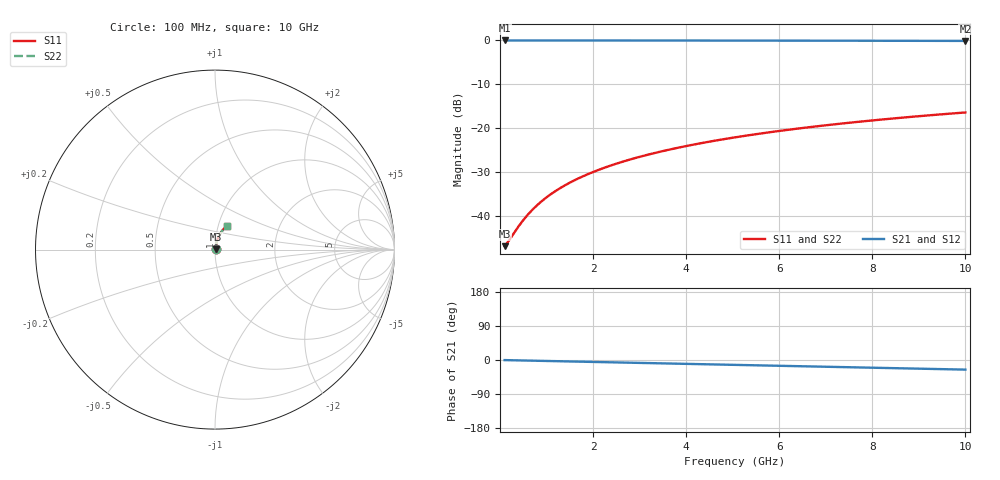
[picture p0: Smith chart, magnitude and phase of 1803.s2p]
# Hz S RI R 50.00
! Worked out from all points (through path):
!   100 points, 100 MHz to 10 GHz, reference 50 ohm
!   highest |S21| = -0.04 dB at 100 MHz (marker M1); lowest = -0.1 dB at 10 GHz (marker M2)
!   group delay of S21, straight-line fit = 7.05 ps
!   lowest |S11| = -46.9 dB at 100 MHz (marker M3), VSWR 1.01, Z = 50.4 + j0.156 ohm
!   |S11| at or under -10 dB: start of sweep to end of sweep
!   |S22| runs from -46.9 to -16.4 dB; largest |S21 - S12| = 0
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1e8  0.00425 0.00155  0.9957 -0.00443  0.9957 -0.00443  0.00425 0.00155
2e8  0.00429 0.0031  0.9957 -0.00886  0.9957 -0.00886  0.00429 0.0031
4e8  0.00441 0.00619  0.9955 -0.0177  0.9955 -0.0177  0.00441 0.00619
5e8  0.00449 0.00773  0.9954 -0.0221  0.9954 -0.0221  0.00449 0.00773
6e8  0.00458 0.00928  0.9953 -0.0266  0.9953 -0.0266  0.00458 0.00928
7e8  0.00468 0.0108  0.9951 -0.031  0.9951 -0.031  0.00468 0.0108
8e8  0.00479 0.0124  0.9949 -0.0354  0.9949 -0.0354  0.00479 0.0124
1e9  0.00505 0.0154  0.9945 -0.0443  0.9945 -0.0443  0.00505 0.0154
1.2e9  0.00537 0.0185  0.994 -0.0531  0.994 -0.0531  0.00537 0.0185
1.5e9  0.00595 0.0231  0.9931 -0.0664  0.9931 -0.0664  0.00595 0.0231
1.8e9  0.00664 0.0277  0.992 -0.0796  0.992 -0.0796  0.00664 0.0277
2.1e9  0.00746 0.0323  0.9906 -0.0928  0.9906 -0.0928  0.00746 0.0323
2.5e9  0.00874 0.0383  0.9886 -0.1104  0.9886 -0.1104  0.00874 0.0383
2.9e9  0.0102 0.0443  0.9862 -0.1279  0.9862 -0.1279  0.0102 0.0443
3.4e9  0.0124 0.0517  0.9827 -0.1498  0.9827 -0.1498  0.0124 0.0517
4.2e9  0.0165 0.0633  0.976 -0.1844  0.976 -0.1844  0.0165 0.0633
5.1e9  0.0221 0.076  0.9669 -0.223  0.9669 -0.223  0.0221 0.076
5.9e9  0.0279 0.0869  0.9573 -0.2569  0.9573 -0.2569  0.0279 0.0869
6.7e9  0.0345 0.0972  0.9465 -0.2903  0.9465 -0.2903  0.0345 0.0972
7.5e9  0.0418 0.1071  0.9344 -0.3231  0.9344 -0.3231  0.0418 0.1071
8.4e9  0.0507 0.1175  0.9193 -0.3593  0.9193 -0.3593  0.0507 0.1175
1e10  0.0686 0.1342  0.8889 -0.4217  0.8889 -0.4217  0.0686 0.1342
